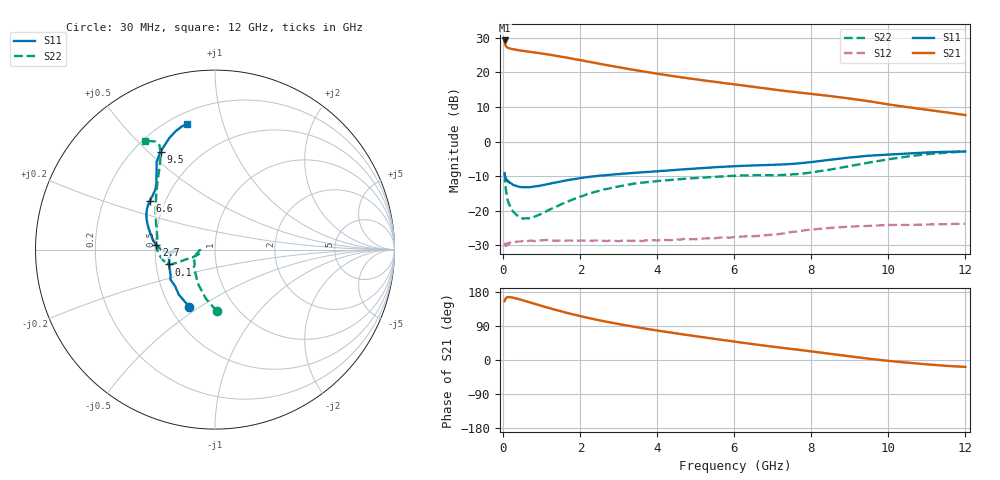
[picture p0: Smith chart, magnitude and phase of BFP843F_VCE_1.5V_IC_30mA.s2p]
! Infineon Technologies  Discrete & RF Semiconductors
! BFP843F
! VCE =  1.5 V,  IC =  30 mA
! Common Emitter S-Parameters:  Aug 2013
# GHz  S  MA  R  50
!  f  S11  S21  S12  S22
! GHz  MAG  ANG  MAG  ANG  MAG  ANG  MAG  ANG
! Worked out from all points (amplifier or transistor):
!   103 points, 30 MHz to 12 GHz, reference 50 ohm
!   highest |S21| = 29.2 dB at 30 MHz (marker M1)
!   |S21| within 3 dB of that: start of sweep to 504.7 MHz
!   unconditionally stable (mu >= 1): 107.7 MHz to end of sweep
!   at 400 MHz: K = 1.02, MAG = 26.7 dB, |S12| = -28.9 dB
!   at 3.7 GHz: K = 1.26, MAG = 21.3 dB, |S12| = -28.6 dB
!   at 12 GHz: K = 1.18, MAG = 13.1 dB, |S12| = -23.8 dB
!   S11 on the Smith chart (normalised r, x): 30 MHz: 0.62, -0.45; 100 MHz: 0.59, -0.10; 2.7 GHz: 0.51, +0.03; 6.6 GHz: 0.41, +0.28; 9.5 GHz: 0.31, +0.55; 12 GHz: 0.27, +0.76
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0.03  0.3494 -114.3  28.94 155.4  0.0307 26.5  0.3432 -88.3
0.04  0.3218 -128.8  26.46 157.6  0.0334 19.0  0.2785 -100.4
0.05  0.3017 -137.3  24.99 161.1  0.0324 12.5  0.2329 -110.0
0.07  0.2848 -150.4  23.7 163.8  0.0311 14.4  0.1873 -123.1
0.1  0.2687 -162.1  22.91 165.6  0.0353 11.1  0.1513 -141.2
0.13  0.2603 -167.3  22.51 166.2  0.0321 9.8  0.1334 -151.4
0.2  0.2488 -175.8  21.89 165.5  0.0351 8.3  0.1089 -165.9
0.9  0.2274 -177.2  19.09 145.5  0.0368 4.1  0.0859 -167.1
1.3  0.2525 -176.9  17.62 133.8  0.0368 5.3  0.1101 -162.4
1.7  0.2782 -177.9  16.12 123.1  0.0372 5.5  0.1375 -161.6
2.1  0.3021 179.2  14.66 113.3  0.0369 7.3  0.1665 -161.4
2.7  0.3282 175.3  12.68 100.5  0.0365 7.0  0.207 -161.2
3.3  0.3492 171.1  11.07 89.4  0.0367 10.4  0.2409 -161.3
3.7  0.3621 167.9  10.16 82.5  0.0373 11.7  0.2573 -161.8
4.1  0.3761 165.0  9.377 76.2  0.0377 13.6  0.271 -163.6
5  0.4076 158.1  7.941 62.7  0.0387 17.1  0.2967 -169.1
6.1  0.4424 148.8  6.606 47.2  0.0418 21.0  0.3209 -179.3
6.6  0.4529 143.4  6.072 40.3  0.0431 22.3  0.3271 175.4
8.5  0.5458 126.6  4.536 16.2  0.0566 24.5  0.3938 147.2
9.5  0.6249 119.0  3.82 3.3  0.0604 20.0  0.4968 130.1
10.5  0.6709 112.4  3.141 -7.0  0.0623 18.2  0.6081 119.8
12  0.7175 102.7  2.412 -18.3  0.0649 18.2  0.7216 122.8
